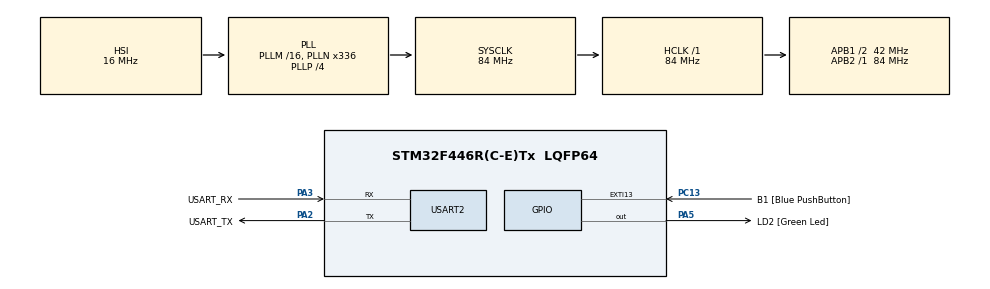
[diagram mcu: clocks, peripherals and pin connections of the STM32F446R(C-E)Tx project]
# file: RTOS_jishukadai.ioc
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FREERTOS.Mutexes01=kadai1,Dynamic,NULL,Available
FREERTOS.Tasks01=myTask1,0,128,StartTask1,Default,NULL,Dynamic,NULL,NULL;myTask02,0,128,StartTask02,Default,NULL,Dynamic,NULL,NULL;myTask03,0,128,StartTask03,Default,NULL,Dynamic,NULL,NULL
Mcu.Family=STM32F4
Mcu.Name=STM32F446R(C-E)Tx
Mcu.Package=LQFP64
NVIC.PriorityGroup=NVIC_PRIORITYGROUP_4
PA13.GPIO_Label=TMS
PA13.Mode=Serial_Wire
PA13.Signal=SYS_JTMS-SWDIO
PA14.GPIO_Label=TCK
PA14.Mode=Serial_Wire
PA14.Signal=SYS_JTCK-SWCLK
PA2.GPIO_Label=USART_TX
PA2.Mode=Asynchronous
PA2.Signal=USART2_TX
PA3.GPIO_Label=USART_RX
PA3.Mode=Asynchronous
PA3.Signal=USART2_RX
PA5.GPIO_Label=LD2 [Green Led]
PA5.Signal=GPIO_Output
PB3.GPIO_Label=SWO
PB3.Signal=SYS_JTDO-SWO
PC13.GPIO_Label=B1 [Blue PushButton]
PC13.GPIO_ModeDefaultEXTI=GPIO_MODE_IT_FALLING
PC13.Signal=GPXTI13
PC14-OSC32_IN.Mode=LSE-External-Oscillator
PC14-OSC32_IN.Signal=RCC_OSC32_IN
PC15-OSC32_OUT.Mode=LSE-External-Oscillator
PC15-OSC32_OUT.Signal=RCC_OSC32_OUT
PH0-OSC_IN.Mode=HSE-External-Oscillator
PH0-OSC_IN.Signal=RCC_OSC_IN
PH1-OSC_OUT.Mode=HSE-External-Oscillator
PH1-OSC_OUT.Signal=RCC_OSC_OUT
ProjectManager.HeapSize=0x200
ProjectManager.StackSize=0x400
ProjectManager.TargetToolchain=CMake
RCC.48MHZClocksFreq_Value=84000000
RCC.AHBFreq_Value=84000000
RCC.APB1CLKDivider=RCC_HCLK_DIV2
RCC.APB1Freq_Value=42000000
RCC.APB1TimFreq_Value=84000000
RCC.APB2Freq_Value=84000000
RCC.APB2TimFreq_Value=84000000
RCC.CortexFreq_Value=84000000
RCC.FLatency-AdvancedSettings=FLASH_LATENCY_2
RCC.HCLKFreq_Value=84000000
RCC.HSE_VALUE=8000000
RCC.HSI_VALUE=16000000
RCC.PLLN=336
RCC.PLLP=RCC_PLLP_DIV4
RCC.SYSCLKFreq_VALUE=84000000
RCC.SYSCLKSource=RCC_SYSCLKSOURCE_PLLCLK
RCC.USBFreq_Value=168000000
RCC.VCOOutputFreq_Value=336000000
USART2.VirtualMode=VM_ASYNC
VP_FREERTOS_VS_CMSIS_V1.Mode=CMSIS_V1
board=NUCLEO-F446RE

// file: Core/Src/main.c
/* USER CODE BEGIN Header */
/**
  ******************************************************************************
  * @file           : main.c
  * @brief          : Main program body
  ******************************************************************************
  * @attention
  *
  * Copyright (c) 2026 STMicroelectronics.
  * All rights reserved.
  *
  * This software is licensed under terms that can be found in the LICENSE file
  * in the root directory of this software component.
  * If no LICENSE file comes with this software, it is provided AS-IS.
  *
  ******************************************************************************
  */
/* USER CODE END Header */
#include "main.h"
#include "cmsis_os.h"

/* USER CODE BEGIN Includes */
#include <stdio.h>
#include <stdarg.h>
/* USER CODE END Includes */

UART_HandleTypeDef huart2;

osThreadId myTask1Handle;
osThreadId myTask02Handle;
osThreadId myTask03Handle;
osMutexId kadai1Handle;

void SystemClock_Config(void);
static void MX_GPIO_Init(void);
static void MX_USART2_UART_Init(void);
void StartTask1(void const * argument);
void StartTask02(void const * argument);
void StartTask03(void const * argument);

/* USER CODE BEGIN PFP */
int uart_printf(const char* format, ...)
{
  char buffer[96];
  va_list args;
  va_start(args, format);
  int len = vsnprintf(buffer, sizeof(buffer), format, args);
  va_end(args);

  if(len > 0)
  {
    HAL_UART_Transmit(&huart2, (uint8_t*)buffer, len, HAL_MAX_DELAY);
  }

  return len;
}

/* USER CODE END PFP */

/* USER CODE BEGIN 0 */
#define ARRAY_SIZE 400
uint32_t data_array[ARRAY_SIZE];
int task1_ready = 0;
int task2_ready = 0;
int total_sum = 0;

/* USER CODE END 0 */

int main(void)
{

  /* MCU Configuration--------------------------------------------------------*/

  /* Reset of all peripherals, Initializes the Flash interface and the Systick. */
  HAL_Init();

  /* Configure the system clock */
  SystemClock_Config();

  /* Initialize all configured peripherals */
  MX_GPIO_Init();
  MX_USART2_UART_Init();

  /* グローバル変数data_arrayの初期化 */
  for(int i = 0; i < ARRAY_SIZE; i++) {
    data_array[i] = i + 1;
  }

  /* Create the mutex(es) */
  /* definition and creation of kadai1 */
  osMutexDef(kadai1);
  kadai1Handle = osMutexCreate(osMutex(kadai1));

  /* Create the thread(s) */
  /* definition and creation of myTask1 */
  osThreadDef(myTask1, StartTask1, osPriorityNormal, 0, 128);
  myTask1Handle = osThreadCreate(osThread(myTask1), NULL);

  /* definition and creation of myTask02 */
  osThreadDef(myTask02, StartTask02, osPriorityNormal, 0, 128);
  myTask02Handle = osThreadCreate(osThread(myTask02), NULL);

  /* definition and creation of myTask03 */
  osThreadDef(myTask03, StartTask03, osPriorityNormal, 0, 128);
  myTask03Handle = osThreadCreate(osThread(myTask03), NULL);

  /* Start scheduler */
  osKernelStart();

  /* We should never get here as control is now taken by the scheduler */

  /* Infinite loop */
  while (1)
  {

  }
}

void SystemClock_Config(void)
{
  RCC_OscInitTypeDef RCC_OscInitStruct = {0};
  RCC_ClkInitTypeDef RCC_ClkInitStruct = {0};

  /** Configure the main internal regulator output voltage
  */
  __HAL_RCC_PWR_CLK_ENABLE();
  __HAL_PWR_VOLTAGESCALING_CONFIG(PWR_REGULATOR_VOLTAGE_SCALE3);

  /** Initializes the RCC Oscillators according to the specified parameters
  * in the RCC_OscInitTypeDef structure.
  */
  RCC_OscInitStruct.OscillatorType = RCC_OSCILLATORTYPE_HSI;
  RCC_OscInitStruct.HSIState = RCC_HSI_ON;
  RCC_OscInitStruct.HSICalibrationValue = RCC_HSICALIBRATION_DEFAULT;
  RCC_OscInitStruct.PLL.PLLState = RCC_PLL_ON;
  RCC_OscInitStruct.PLL.PLLSource = RCC_PLLSOURCE_HSI;
  RCC_OscInitStruct.PLL.PLLM = 16;
  RCC_OscInitStruct.PLL.PLLN = 336;
  RCC_OscInitStruct.PLL.PLLP = RCC_PLLP_DIV4;
  RCC_OscInitStruct.PLL.PLLQ = 2;
  RCC_OscInitStruct.PLL.PLLR = 2;
  if (HAL_RCC_OscConfig(&RCC_OscInitStruct) != HAL_OK)
  {
    Error_Handler();
  }

  /** Initializes the CPU, AHB and APB buses clocks
  */
  RCC_ClkInitStruct.ClockType = RCC_CLOCKTYPE_HCLK|RCC_CLOCKTYPE_SYSCLK
                              |RCC_CLOCKTYPE_PCLK1|RCC_CLOCKTYPE_PCLK2;
  RCC_ClkInitStruct.SYSCLKSource = RCC_SYSCLKSOURCE_PLLCLK;
  RCC_ClkInitStruct.AHBCLKDivider = RCC_SYSCLK_DIV1;
  RCC_ClkInitStruct.APB1CLKDivider = RCC_HCLK_DIV2;
  RCC_ClkInitStruct.APB2CLKDivider = RCC_HCLK_DIV1;

  if (HAL_RCC_ClockConfig(&RCC_ClkInitStruct, FLASH_LATENCY_2) != HAL_OK)
  {
    Error_Handler();
  }
}

static void MX_USART2_UART_Init(void)
{

  huart2.Instance = USART2;
  huart2.Init.BaudRate = 115200;
  huart2.Init.WordLength = UART_WORDLENGTH_8B;
  huart2.Init.StopBits = UART_STOPBITS_1;
  huart2.Init.Parity = UART_PARITY_NONE;
  huart2.Init.Mode = UART_MODE_TX_RX;
  huart2.Init.HwFlowCtl = UART_HWCONTROL_NONE;
  huart2.Init.OverSampling = UART_OVERSAMPLING_16;
  if (HAL_UART_Init(&huart2) != HAL_OK)
  {
    Error_Handler();
  }

}

static void MX_GPIO_Init(void)
{
  GPIO_InitTypeDef GPIO_InitStruct = {0};

  /* GPIO Ports Clock Enable */
  __HAL_RCC_GPIOC_CLK_ENABLE();
  __HAL_RCC_GPIOH_CLK_ENABLE();
  __HAL_RCC_GPIOA_CLK_ENABLE();
  __HAL_RCC_GPIOB_CLK_ENABLE();

  /*Configure GPIO pin Output Level */
  HAL_GPIO_WritePin(LD2_GPIO_Port, LD2_Pin, GPIO_PIN_RESET);

  /*Configure GPIO pin : B1_Pin */
  GPIO_InitStruct.Pin = B1_Pin;
  GPIO_InitStruct.Mode = GPIO_MODE_IT_FALLING;
  GPIO_InitStruct.Pull = GPIO_NOPULL;
  HAL_GPIO_Init(B1_GPIO_Port, &GPIO_InitStruct);

  /*Configure GPIO pin : LD2_Pin */
  GPIO_InitStruct.Pin = LD2_Pin;
  GPIO_InitStruct.Mode = GPIO_MODE_OUTPUT_PP;
  GPIO_InitStruct.Pull = GPIO_NOPULL;
  GPIO_InitStruct.Speed = GPIO_SPEED_FREQ_LOW;
  HAL_GPIO_Init(LD2_GPIO_Port, &GPIO_InitStruct);

}

void StartTask1(void const * argument)
{
  /* USER CODE BEGIN 5 */
  int count = 0;
  int sum1 = 0;
  /* Infinite loop */
  for(;;)
  {

    sum1 += data_array[count];
    if(count <= ARRAY_SIZE/2)
    {
      count++;
    }

    if(count == ARRAY_SIZE/2)
    {
      if(osMutexWait(kadai1Handle, osWaitForever) == osOK)
      {
        total_sum += sum1;
        task1_ready = 1;
        osMutexRelease(kadai1Handle);

      }
    }
    osDelay(1);
  }
  /* USER CODE END 5 */
}

void StartTask02(void const * argument)
{
  /* USER CODE BEGIN StartTask02 */
  int sum2 = 0;
  int count = ARRAY_SIZE/2;

  /* Infinite loop */
  for(;;)
  {

    sum2 += data_array[count];
    if(count <= ARRAY_SIZE)
    {
      count++;
    }

    if(count == ARRAY_SIZE)
    {
      if(osMutexWait(kadai1Handle, osWaitForever) == osOK)
      {
        if(task1_ready == 1)
        {

          total_sum += sum2;

          task2_ready = 1;

          osMutexRelease(kadai1Handle);
        }
      }

    }
    osDelay(1);
  }

  /* USER CODE END StartTask02 */
}

void StartTask03(void const * argument)
{
  /* USER CODE BEGIN StartTask03 */

  /* Infinite loop */
  for(;;){
    if(osMutexWait(kadai1Handle, osWaitForever) ==osOK)
    {
      if(task1_ready == 1 && task2_ready == 1)
      {
        uart_printf("Total Sum: %lu\r\n", total_sum);
      }
      osMutexRelease(kadai1Handle);
    }
    osDelay(1);
  }
  /* USER CODE END StartTask03 */
}

void Error_Handler(void)
{
  __disable_irq();
  while (1)
  {
  }
}
